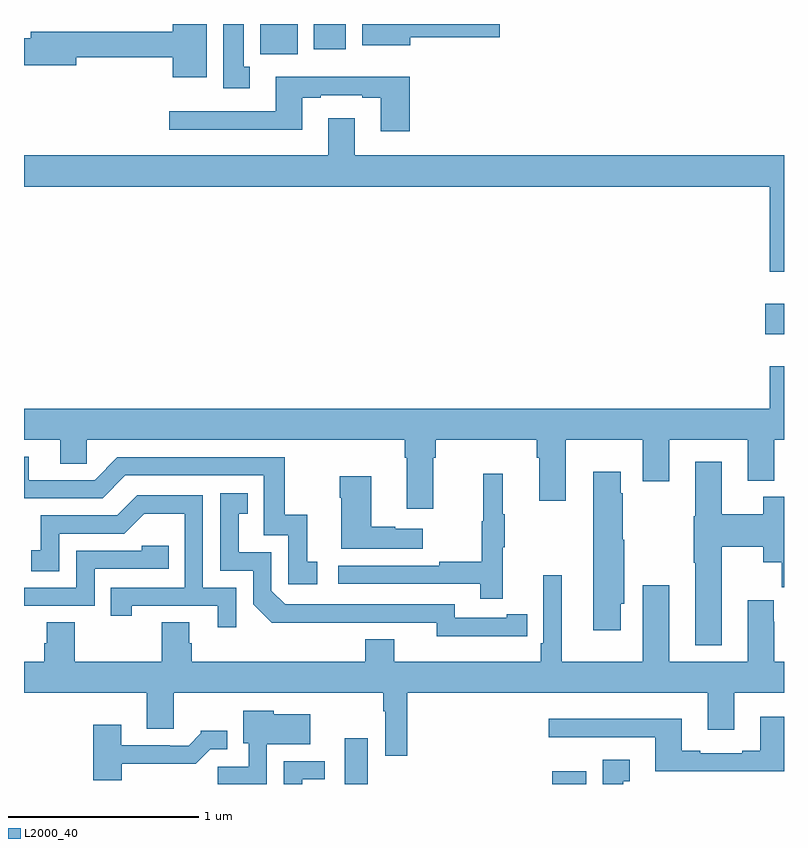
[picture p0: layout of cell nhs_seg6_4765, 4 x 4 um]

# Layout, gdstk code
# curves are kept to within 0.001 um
import gdstk
lib = gdstk.Library(unit=1e-6, precision=1e-09)
def R(c, l, rs):  # rectangles x0, y0, x1, y1
    for r in rs: c.add(gdstk.rectangle(r[:2], r[2:], *l))
def P(c, l, *ps):  # polygons
    for p in ps: c.add(gdstk.Polygon(p, *l))
L2000_40 = (2000, 40)

nhs_seg6_4765 = lib.new_cell('nhs_seg6_4765')
R(nhs_seg6_4765, L2000_40, [(394.688,969.5,394.81,969.742), (395.78,969.5,395.959,969.568), (396.9,971.867,397,972.028), (394.244,973.34,394.441,973.5), (394.526,973.368,394.693,973.5)])
P(nhs_seg6_4765, L2000_40, [(394.189,973.274),(394.156,973.274),(394.156,973.5),(394.049,973.5),(394.049,973.161),(394.189,973.161)],
  [(393.961,973.5),(393.782,973.5),(393.782,973.46),(393.035,973.46),(393.035,973.424),(393,973.424),(393,973.282),(393.274,973.282),(393.274,973.324),(393.782,973.324),(393.782,973.22),(393.961,973.22)],
  [(395.032,973.43),(395.503,973.43),(395.503,973.5),(394.781,973.5),(394.781,973.388),(395.032,973.388)],
  [(395.03,973.222),(394.325,973.222),(394.325,973.041),(393.765,973.041),(393.765,972.944),(394.465,972.944),(394.465,973.113),(394.561,973.113),(394.561,973.125),(394.781,973.125),(394.781,973.113),(394.877,973.113),(394.877,972.936),(395.03,972.936)],
  [(397,972.808),(394.741,972.808),(394.741,973.003),(394.601,973.003),(394.601,972.808),(393,972.808),(393,972.644),(396.924,972.644),(396.924,972.195),(397,972.195)],
  [(393,971.312),(393.191,971.312),(393.191,971.185),(393.33,971.185),(393.33,971.312),(395.003,971.312),(395.003,971.216),(395.015,971.216),(395.015,970.95),(395.155,970.95),(395.155,971.216),(395.168,971.216),(395.168,971.312),(395.699,971.312),(395.699,971.216),(395.711,971.216),(395.711,970.992),(395.851,970.992),(395.851,971.312),(396.257,971.312),(396.257,971.094),(396.397,971.094),(396.397,971.312),(396.809,971.312),(396.809,971.096),(396.949,971.096),(396.949,971.312),(397,971.312),(397,971.698),(396.924,971.698),(396.924,971.476),(393,971.476)],
  [(394.543,970.671),(394.49,970.671),(394.49,970.918),(394.372,970.918),(394.372,971.22),(393.492,971.22),(393.372,971.1),(393.025,971.1),(393.025,971.223),(393,971.223),(393,971.004),(393.414,971.004),(393.534,971.124),(394.263,971.124),(394.263,970.809),(394.392,970.809),(394.392,970.551),(394.543,970.551)],
  [(396.673,970.748),(396.89,970.748),(396.89,970.667),(396.989,970.667),(396.989,970.536),(397,970.536),(397,971.011),(396.89,971.011),(396.89,970.92),(396.673,970.92),(396.673,971.197),(396.533,971.197),(396.533,970.908),(396.526,970.908),(396.526,970.664),(396.533,970.664),(396.533,970.229),(396.673,970.229)],
  [(396.142,970.449),(396.16,970.449),(396.16,970.785),(396.15,970.785),(396.15,971.03),(396.142,971.03),(396.142,971.143),(395.996,971.143),(395.996,970.308),(396.142,970.308)],
  [(395.519,970.747),(395.53,970.747),(395.53,970.921),(395.519,970.921),(395.519,971.134),(395.416,971.134),(395.416,970.884),(395.409,970.884),(395.409,970.67),(395.185,970.67),(395.185,970.65),(394.653,970.65),(394.653,970.554),(395.401,970.554),(395.401,970.476),(395.519,970.476)],
  [(395.098,970.843),(394.955,970.843),(394.955,970.853),(394.828,970.853),(394.828,971.119),(394.663,971.119),(394.663,971.006),(394.67,971.006),(394.67,970.739),(395.098,970.739)],
  [(395.54,970.278),(395.648,970.278),(395.648,970.394),(395.54,970.394),(395.54,970.374),(395.268,970.374),(395.268,970.446),(394.374,970.446),(394.302,970.518),(394.302,970.719),(394.129,970.719),(394.129,970.923),(394.178,970.923),(394.178,971.029),(394.032,971.029),(394.032,970.623),(394.206,970.623),(394.206,970.446),(394.304,970.349),(395.172,970.35),(395.172,970.277)],
  [(394.116,970.533),(393.942,970.533),(393.942,971.019),(393.596,971.019),(393.491,970.914),(393.088,970.914),(393.088,970.729),(393.039,970.729),(393.039,970.62),(393.186,970.62),(393.186,970.818),(393.528,970.818),(393.632,970.922),(393.846,970.922),(393.846,970.533),(393.457,970.533),(393.457,970.386),(393.568,970.386),(393.568,970.437),(394.019,970.437),(394.019,970.326),(394.116,970.326)],
  [(393.372,970.632),(393.761,970.632),(393.761,970.755),(393.621,970.755),(393.621,970.728),(393.276,970.728),(393.276,970.533),(393,970.533),(393,970.437),(393.372,970.437)],
  [(394.948,970.261),(394.796,970.261),(394.796,970.144),(393.884,970.144),(393.884,970.242),(393.871,970.242),(393.871,970.352),(393.724,970.352),(393.724,970.144),(393.267,970.144),(393.267,970.352),(393.119,970.352),(393.119,970.242),(393.107,970.242),(393.107,970.144),(393,970.144),(393,969.98),(393.647,969.98),(393.647,969.79),(393.787,969.79),(393.787,969.98),(394.89,969.98),(394.89,969.884),(394.902,969.884),(394.902,969.648),(395.018,969.648),(395.018,969.98),(396.599,969.98),(396.599,969.786),(396.739,969.786),(396.739,969.98),(397,969.98),(397,970.144),(396.949,970.144),(396.949,970.355),(396.946,970.355),(396.946,970.468),(396.809,970.468),(396.809,970.144),(396.397,970.144),(396.397,970.546),(396.257,970.546),(396.257,970.144),(395.83,970.144),(395.83,970.6),(395.733,970.6),(395.733,970.24),(395.72,970.24),(395.72,970.144),(394.948,970.144)],
  [(394.278,969.71),(394.507,969.71),(394.507,969.868),(394.314,969.868),(394.314,969.886),(394.154,969.886),(394.154,969.714),(394.182,969.714),(394.182,969.591),(394.019,969.591),(394.019,969.5),(394.278,969.5)],
  [(397,969.853),(396.875,969.853),(396.875,969.676),(396.779,969.676),(396.779,969.663),(396.559,969.663),(396.559,969.676),(396.463,969.676),(396.463,969.844),(395.763,969.844),(395.763,969.747),(396.323,969.747),(396.323,969.566),(397,969.566)],
  [(393.514,969.606),(393.903,969.606),(393.981,969.684),(394.069,969.684),(394.069,969.781),(393.93,969.781),(393.93,969.766),(393.866,969.702),(393.767,969.702),(393.767,969.705),(393.511,969.705),(393.511,969.811),(393.364,969.811),(393.364,969.521),(393.514,969.521)],
  [(396.154,969.515),(396.187,969.515),(396.187,969.628),(396.047,969.628),(396.047,969.5),(396.154,969.5)],
  [(394.464,969.525),(394.582,969.525),(394.582,969.621),(394.368,969.621),(394.368,969.5),(394.464,969.5)])

lib.write_gds('nhs_seg6_4765.gds')
